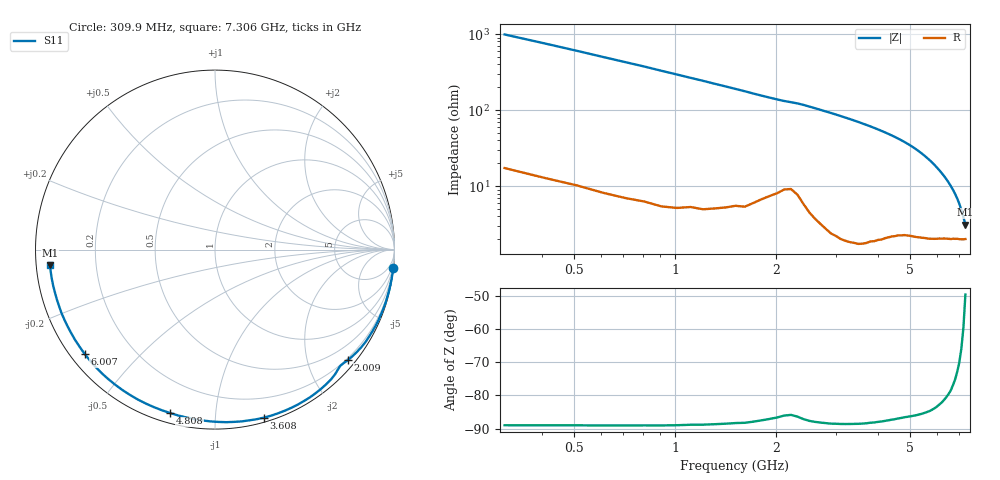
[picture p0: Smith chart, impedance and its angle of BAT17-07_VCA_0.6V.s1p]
! Infineon Technologies  Discrete & RF Semiconductors
! BAT17-07
! VCA = 0.6 V
! One-Port S-Parameters
# Hz  S  MA  R  50
!f  S11
!Hz  Mag  Ang
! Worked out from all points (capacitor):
!   71 points, 309.9 MHz to 7.306 GHz, reference 50 ohm
!   read as one part to ground: C = 519 fF near 309.9 MHz
!   lowest |Z| = 3.1 ohm at 7.306 GHz (marker M1)
!   S11 on the Smith chart (normalised r, x): 309.9 MHz: 0, -20; 2.009 GHz: 0.16, -2.76; 3.608 GHz: 0.04, -1.33; 4.808 GHz: 0.05, -0.76; 6.007 GHz: 0.04, -0.35; 7.306 GHz: 0.04, -0.05
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3.0985e8  0.9982 -5.8
8.096e8  0.9956 -15.2
1.2094e9  0.992 -23.3
1.6092e9  0.9843 -31.5
1.8091e9  0.9748 -35.8
2.009e9  0.9634 -39.7
2.10895e9  0.9556 -41.5
2.30885e9  0.9569 -44.3
2.50875e9  0.9704 -48.4
2.8086e9  0.9769 -55.1
3.0085e9  0.9785 -59.5
3.30835e9  0.9782 -66.4
3.6082e9  0.9751 -73.7
3.8081e9  0.9704 -78.6
4.008e9  0.9658 -83.6
4.2079e9  0.9603 -88.8
4.50775e9  0.952 -96.8
4.70765e9  0.9468 -102.5
4.8076e9  0.9442 -105.3
5.0075e9  0.9414 -111.1
5.2074e9  0.9395 -117.1
5.4073e9  0.9372 -123.2
5.6072e9  0.9349 -129.4
6.007e9  0.9302 -141.4
6.2069e9  0.9279 -147.1
6.50675e9  0.9255 -155.1
6.90655e9  0.9233 -165.0
7.30635e9  0.9227 -174.6
